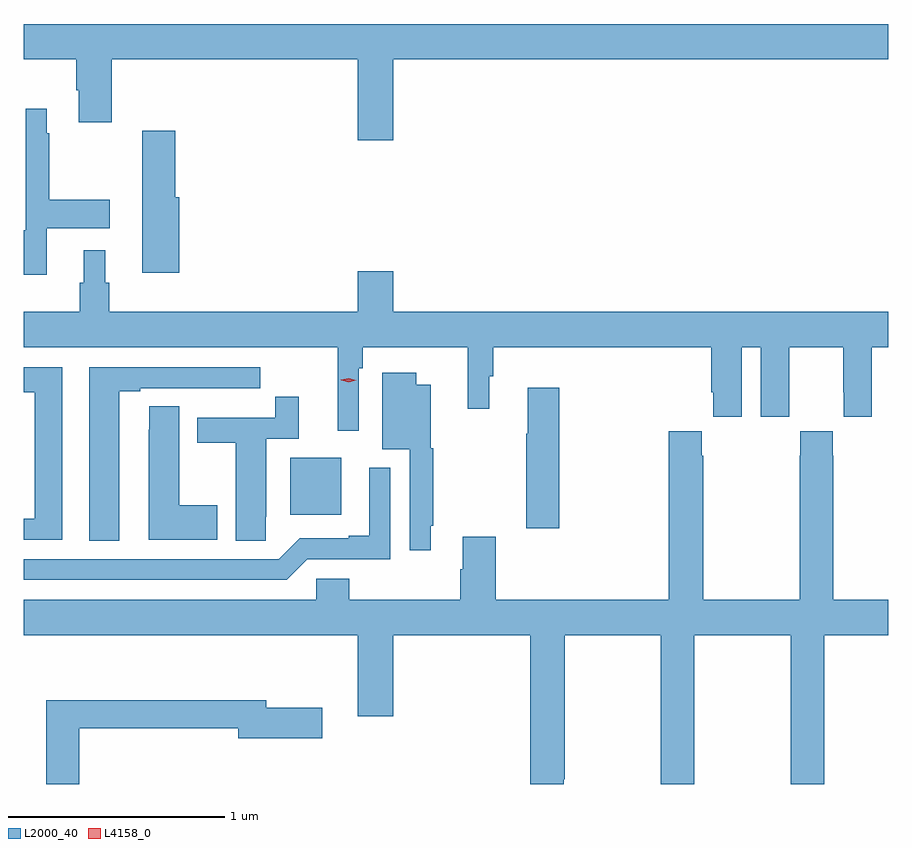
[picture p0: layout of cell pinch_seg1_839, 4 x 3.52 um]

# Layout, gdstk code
import gdstk
lib = gdstk.Library(unit=1e-6, precision=1e-09)
def R(c, l, rs):  # rectangles x0, y0, x1, y1
    for r in rs: c.add(gdstk.rectangle(r[:2], r[2:], *l))
def P(c, l, *ps):  # polygons
    for p in ps: c.add(gdstk.Polygon(p, *l))
L2000_40 = (2000, 40)
L4158_0 = (4158, 0)

pinch_seg1_839 = lib.new_cell('pinch_seg1_839')
R(pinch_seg1_839, L2000_40, [(416.444,525.65,416.68,525.913)])
P(pinch_seg1_839, L2000_40, [(416.92,527.756),(419.211,527.756),(419.211,527.92),(415.211,527.92),(415.211,527.756),(415.454,527.756),(415.454,527.614),(415.466,527.614),(415.466,527.466),(415.619,527.466),(415.619,527.756),(416.756,527.756),(416.756,527.382),(416.92,527.382)],
  [(415.318,526.976),(415.609,526.976),(415.609,527.106),(415.33,527.106),(415.33,527.414),(415.318,527.414),(415.318,527.527),(415.221,527.527),(415.221,526.966),(415.211,526.966),(415.211,526.76),(415.318,526.76)],
  [(415.931,527.118),(415.913,527.118),(415.913,527.425),(415.759,527.425),(415.759,527.118),(415.76,527.118),(415.76,526.77),(415.931,526.77)],
  [(416.76,526.328),(416.78,526.328),(416.78,526.424),(417.265,526.424),(417.265,526.14),(417.364,526.14),(417.364,526.29),(417.383,526.29),(417.383,526.424),(418.391,526.424),(418.391,526.216),(418.4,526.216),(418.4,526.104),(418.534,526.104),(418.534,526.424),(418.622,526.424),(418.622,526.104),(418.752,526.104),(418.752,526.216),(418.753,526.216),(418.753,526.424),(419.003,526.424),(419.003,526.216),(419.004,526.216),(419.004,526.104),(419.134,526.104),(419.134,526.424),(419.211,526.424),(419.211,526.588),(416.92,526.588),(416.92,526.777),(416.756,526.777),(416.756,526.588),(415.607,526.588),(415.607,526.722),(415.588,526.722),(415.588,526.873),(415.49,526.873),(415.49,526.722),(415.471,526.722),(415.471,526.588),(415.211,526.588),(415.211,526.424),(416.663,526.424),(416.663,526.038),(416.76,526.038)],
  [(415.39,526.332),(415.211,526.332),(415.211,526.216),(415.262,526.216),(415.262,525.63),(415.211,525.63),(415.211,525.534),(415.39,525.534)],
  [(415.654,526.221),(415.75,526.221),(415.75,526.236),(416.026,526.236),(416.026,526.235),(416.192,526.235),(416.192,526.236),(416.305,526.236),(416.305,526.332),(415.514,526.332),(415.514,525.529),(415.654,525.529)],
  [(417.094,525.598),(417.106,525.598),(417.106,525.957),(417.094,525.957),(417.094,526.252),(417.028,526.252),(417.028,526.306),(416.87,526.306),(416.87,525.953),(416.997,525.953),(416.997,525.486),(417.094,525.486)],
  [(417.689,526.237),(417.542,526.237),(417.542,526.024),(417.535,526.024),(417.535,525.588),(417.689,525.588)],
  [(416.331,525.64),(416.332,525.64),(416.332,526.002),(416.483,526.002),(416.483,526.195),(416.374,526.195),(416.374,526.098),(416.015,526.098),(416.015,525.982),(416.192,525.982),(416.192,525.529),(416.331,525.529)],
  [(416.107,525.693),(415.93,525.693),(415.93,526.151),(415.791,526.151),(415.791,526.043),(415.79,526.043),(415.79,525.533),(416.107,525.533)],
  [(417.554,524.404),(417.709,524.404),(417.709,524.425),(417.714,524.425),(417.714,525.092),(418.159,525.092),(418.159,524.404),(418.314,524.404),(418.314,525.092),(418.759,525.092),(418.759,524.404),(418.914,524.404),(418.914,525.092),(419.211,525.092),(419.211,525.256),(418.956,525.256),(418.956,525.923),(418.953,525.923),(418.953,526.036),(418.803,526.036),(418.803,525.923),(418.801,525.923),(418.801,525.256),(418.356,525.256),(418.356,525.923),(418.349,525.923),(418.349,526.036),(418.196,526.036),(418.196,525.256),(417.395,525.256),(417.395,525.547),(417.242,525.547),(417.242,525.398),(417.23,525.398),(417.23,525.256),(416.717,525.256),(416.717,525.354),(416.565,525.354),(416.565,525.256),(415.211,525.256),(415.211,525.092),(416.756,525.092),(416.756,524.718),(416.92,524.718),(416.92,525.092),(417.554,525.092)],
  [(416.523,525.444),(416.907,525.444),(416.907,525.868),(416.81,525.868),(416.81,525.553),(416.714,525.553),(416.714,525.54),(416.487,525.54),(416.391,525.444),(415.211,525.444),(415.211,525.348),(416.427,525.348)],
  [(415.469,524.662),(416.204,524.662),(416.204,524.615),(416.593,524.615),(416.593,524.757),(416.332,524.757),(416.332,524.791),(415.315,524.791),(415.315,524.404),(415.469,524.404)])
P(pinch_seg1_839, L4158_0, [(416.714,526.262),(416.679,526.273),(416.678,526.274),(416.679,526.274),(416.715,526.282),(416.75,526.271),(416.75,526.271),(416.75,526.271)])

lib.write_gds('pinch_seg1_839.gds')
